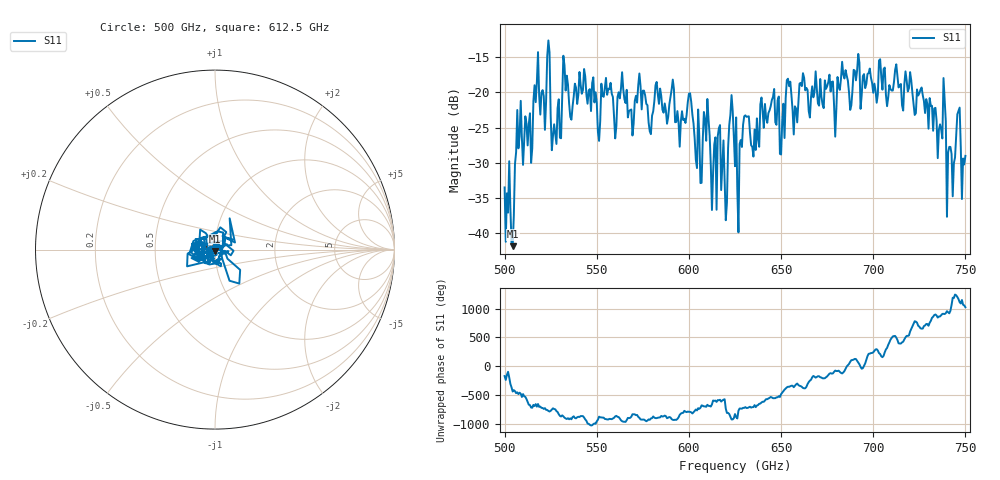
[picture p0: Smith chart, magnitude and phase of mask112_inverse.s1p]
!Created with skrf (http://scikit-rf.org).
# GHz S MA R 50.0
!freq magS11 angS11
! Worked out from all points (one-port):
!   401 points, 500 GHz to 750 GHz, reference 50 ohm
!   lowest |S11| = -41.8 dB at 504.4 GHz (marker M1), VSWR 1.02, Z = 50.2 - j0.798 ohm
!   |S11| at or under -10 dB: start of sweep to end of sweep
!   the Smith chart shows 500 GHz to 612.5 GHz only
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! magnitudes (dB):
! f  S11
! 500 GHz  -33.5
! 504.4 GHz  -41.8
! 507.5 GHz  -27.9
! 513.8 GHz  -23.0
! 516.9 GHz  -21.4
! 523.8 GHz  -12.7
! 526.9 GHz  -24.5
! 531.2 GHz  -20.5
! 562.5 GHz  -20.9
! 579.4 GHz  -25.9
! 590.6 GHz  -19.6
! 593.8 GHz  -22.7
! 600.6 GHz  -20.1
! 605.6 GHz  -26.2
! 609.4 GHz  -26.9
! 613.8 GHz  -27.4
! 615.6 GHz  -26.3
! 619.4 GHz  -32.3
! 622.5 GHz  -23.2
! 625 GHz  -30.5
! 627.5 GHz  -27.3
! 631.2 GHz  -23.5
! 635 GHz  -29.1
! 640 GHz  -22.7
! 656.2 GHz  -22.6
! 687.5 GHz  -22.5
! 718.8 GHz  -19.9
! 750 GHz  -29.0
